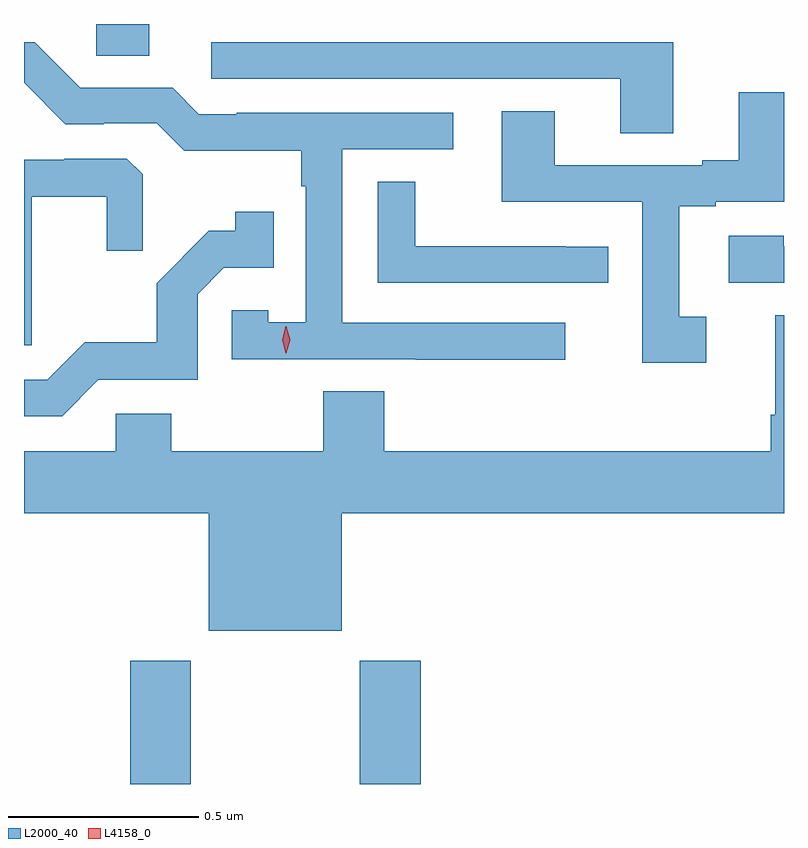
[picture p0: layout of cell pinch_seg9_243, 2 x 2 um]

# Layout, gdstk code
import gdstk
lib = gdstk.Library(unit=1e-6, precision=1e-09)
def R(c, l, rs):  # rectangles x0, y0, x1, y1
    for r in rs: c.add(gdstk.rectangle(r[:2], r[2:], *l))
def P(c, l, *ps):  # polygons
    for p in ps: c.add(gdstk.Polygon(p, *l))
L2000_40 = (2000, 40)
L4158_0 = (4158, 0)

pinch_seg9_243 = lib.new_cell('pinch_seg9_243')
R(pinch_seg9_243, L2000_40, [(425.117,1244.992,425.277,1245.316), (425.722,1244.992,425.882,1245.316), (425.028,1246.909,425.167,1246.992)])
P(pinch_seg9_243, L2000_40, [(426.262,1246.206),(425.676,1246.206),(425.676,1246.662),(425.968,1246.662),(425.968,1246.758),(425.398,1246.758),(425.398,1246.755),(425.298,1246.755),(425.229,1246.824),(424.986,1246.824),(424.866,1246.944),(424.838,1246.944),(424.838,1246.837),(424.947,1246.728),(425.048,1246.728),(425.048,1246.731),(425.187,1246.731),(425.26,1246.658),(425.568,1246.658),(425.568,1246.565),(425.58,1246.565),(425.58,1246.207),(425.481,1246.207),(425.481,1246.239),(425.385,1246.239),(425.385,1246.11),(425.869,1246.11),(425.869,1246.108),(426.262,1246.108)],
  [(426.547,1246.944),(425.331,1246.944),(425.331,1246.848),(426.407,1246.848),(426.407,1246.705),(426.547,1246.705)],
  [(426.634,1246.221),(426.562,1246.221),(426.562,1246.512),(426.658,1246.512),(426.658,1246.524),(426.838,1246.524),(426.838,1246.813),(426.719,1246.813),(426.719,1246.633),(426.623,1246.633),(426.623,1246.62),(426.235,1246.62),(426.235,1246.763),(426.095,1246.763),(426.095,1246.524),(426.465,1246.524),(426.465,1246.101),(426.634,1246.101)],
  [(424.859,1246.538),(425.056,1246.538),(425.056,1246.395),(425.15,1246.395),(425.15,1246.597),(425.109,1246.638),(424.944,1246.638),(424.944,1246.635),(424.838,1246.635),(424.838,1246.146),(424.859,1246.146)],
  [(426.376,1246.406),(426.263,1246.406),(426.263,1246.407),(425.868,1246.407),(425.868,1246.577),(425.769,1246.577),(425.769,1246.311),(426.376,1246.311)],
  [(425.034,1246.056),(425.295,1246.056),(425.295,1246.281),(425.364,1246.35),(425.495,1246.35),(425.495,1246.498),(425.394,1246.498),(425.394,1246.448),(425.324,1246.448),(425.187,1246.31),(425.187,1246.155),(424.998,1246.155),(424.899,1246.056),(424.838,1246.056),(424.838,1245.96),(424.938,1245.96)],
  [(426.838,1246.407),(426.837,1246.407),(426.837,1246.435),(426.693,1246.435),(426.693,1246.311),(426.838,1246.311)],
  [(425.674,1245.704),(426.838,1245.704),(426.838,1246.225),(426.815,1246.225),(426.815,1245.964),(426.803,1245.964),(426.803,1245.868),(425.786,1245.868),(425.786,1246.025),(425.626,1246.025),(425.626,1245.868),(425.226,1245.868),(425.226,1245.966),(425.079,1245.966),(425.079,1245.868),(424.838,1245.868),(424.838,1245.704),(425.324,1245.704),(425.324,1245.395),(425.674,1245.395)])
P(pinch_seg9_243, L4158_0, [(425.527,1246.126),(425.518,1246.161),(425.527,1246.197),(425.528,1246.197),(425.528,1246.197),(425.538,1246.161),(425.528,1246.126),(425.528,1246.126)])

lib.write_gds('pinch_seg9_243.gds')
